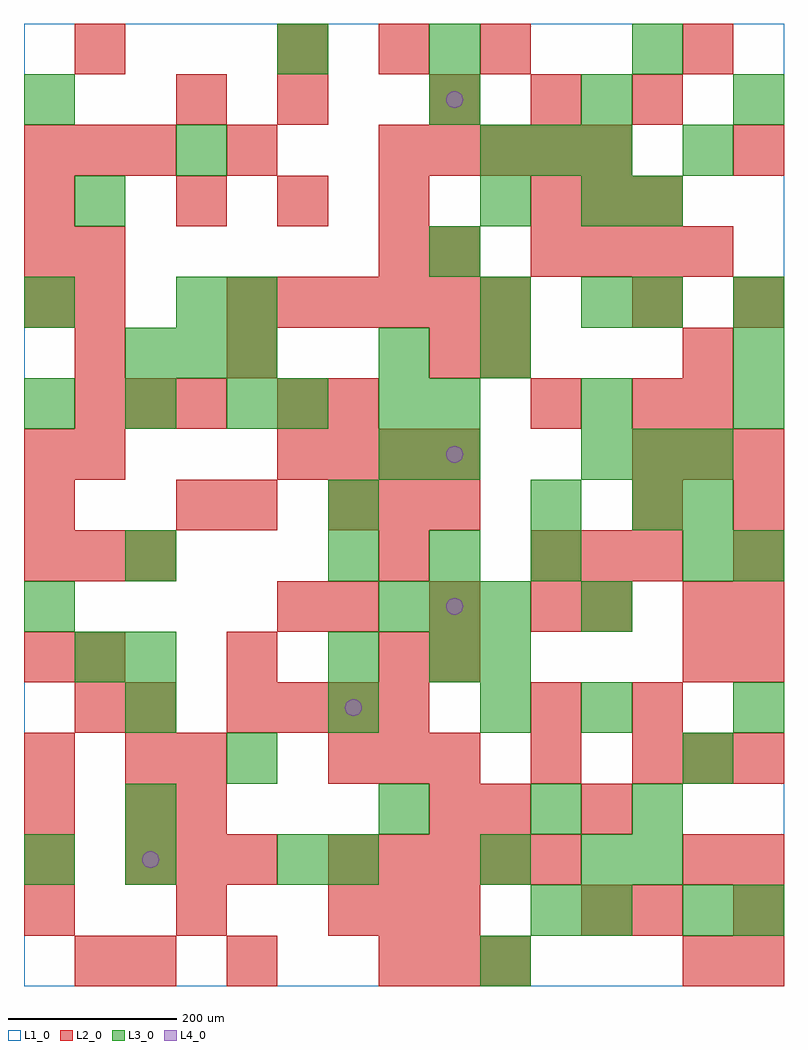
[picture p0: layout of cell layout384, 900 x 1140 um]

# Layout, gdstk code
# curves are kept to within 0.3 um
import gdstk
lib = gdstk.Library(unit=1e-6, precision=1e-09)
def R(c, l, rs):  # rectangles x0, y0, x1, y1
    for r in rs: c.add(gdstk.rectangle(r[:2], r[2:], *l))
def A(c, l, x, y, w, h, nx, ny, dx, dy):  # array of equal rectangles
    R(c, l, [(x+i*dx, y+j*dy, x+i*dx+w, y+j*dy+h) for i in range(nx) for j in range(ny)])
def P(c, l, *ps):  # polygons
    for p in ps: c.add(gdstk.Polygon(p, *l))
L1_0 = (1, 0)
L2_0 = (2, 0)
L3_0 = (3, 0)
L4_0 = (4, 0)

layout384 = lib.new_cell('layout384')
R(layout384, L1_0, [(0,0,900,1140)])
A(layout384, L2_0, 60, 0, 60, 60, 1, 3, 0, 300)
A(layout384, L2_0, 420, 0, 60, 60, 3, 1, 60, 0)
A(layout384, L2_0, 840, 0, 60, 60, 1, 3, 0, 60)
A(layout384, L2_0, 0, 60, 60, 60, 3, 1, 180, 0)
A(layout384, L2_0, 720, 60, 60, 60, 1, 3, 0, 240)
A(layout384, L2_0, 0, 120, 60, 60, 1, 3, 0, 60)
A(layout384, L2_0, 120, 120, 60, 60, 3, 1, 60, 0)
A(layout384, L2_0, 360, 120, 60, 60, 5, 1, 60, 0)
A(layout384, L2_0, 120, 180, 60, 60, 1, 3, 0, 60)
A(layout384, L2_0, 360, 240, 60, 60, 3, 2, 60, 300)
A(layout384, L2_0, 720, 240, 60, 60, 3, 2, 60, 360)
A(layout384, L2_0, 240, 300, 60, 60, 4, 1, 60, 0)
A(layout384, L2_0, 60, 360, 60, 60, 3, 1, 180, 0)
A(layout384, L2_0, 840, 360, 60, 60, 1, 4, 0, 60)
A(layout384, L2_0, 360, 420, 60, 60, 3, 1, 120, 0)
A(layout384, L2_0, 0, 480, 60, 60, 3, 2, 60, 480)
A(layout384, L2_0, 600, 480, 60, 60, 3, 2, 60, 420)
A(layout384, L2_0, 300, 600, 60, 60, 4, 1, 60, 0)
A(layout384, L2_0, 60, 660, 60, 60, 3, 1, 60, 0)
A(layout384, L2_0, 60, 720, 60, 60, 1, 3, 0, 60)
A(layout384, L2_0, 0, 780, 60, 60, 1, 3, 0, 60)
A(layout384, L2_0, 240, 780, 60, 60, 6, 1, 60, 0)
A(layout384, L2_0, 600, 840, 60, 60, 4, 1, 60, 0)
A(layout384, L2_0, 180, 900, 60, 60, 3, 1, 120, 0)
A(layout384, L2_0, 420, 960, 60, 60, 5, 1, 60, 0)
A(layout384, L2_0, 480, 1020, 60, 60, 3, 1, 120, 0)
A(layout384, L2_0, 300, 1080, 60, 60, 3, 1, 120, 0)
R(layout384, L2_0, [(120,0,180,60), (240,0,300,60), (780,0,840,60), (420,60,480,120), (480,60,540,120), (660,60,720,120), (780,120,840,180), (180,180,240,240), (480,180,540,240), (540,180,600,240), (660,180,720,240), (180,240,240,300), (600,240,660,300), (600,300,660,360), (0,360,60,420), (480,360,540,420), (780,360,840,420), (300,420,360,480), (660,420,720,480), (780,420,840,480), (420,480,480,540), (0,540,60,600), (180,540,240,600), (240,540,300,600), (0,600,60,660), (300,660,360,720), (360,660,420,720), (600,660,660,720), (720,660,780,720), (780,660,840,720), (240,720,300,780), (480,720,540,780), (540,720,600,780), (780,720,840,780), (720,780,780,840), (840,780,900,840), (420,840,480,900), (480,840,540,900), (240,960,300,1020), (840,960,900,1020), (180,1020,240,1080), (300,1020,360,1080), (60,1080,120,1140), (780,1080,840,1140)])
A(layout384, L3_0, 480, 360, 60, 60, 1, 4, 0, 240)
A(layout384, L3_0, 420, 420, 60, 60, 3, 1, 60, 0)
A(layout384, L3_0, 360, 480, 60, 60, 3, 1, 120, 0)
A(layout384, L3_0, 420, 600, 60, 60, 1, 3, 0, 60)
A(layout384, L3_0, 660, 600, 60, 60, 3, 1, 60, 0)
A(layout384, L3_0, 0, 660, 60, 60, 3, 1, 120, 0)
A(layout384, L3_0, 480, 660, 60, 60, 3, 2, 180, 360)
A(layout384, L3_0, 120, 720, 60, 60, 3, 1, 60, 0)
A(layout384, L3_0, 540, 960, 60, 60, 3, 1, 60, 0)
R(layout384, L3_0, [(540,0,600,60), (600,60,660,120), (660,60,720,120), (780,60,840,120), (840,60,900,120), (0,120,60,180), (120,120,180,180), (300,120,360,180), (360,120,420,180), (540,120,600,180), (660,120,720,180), (720,120,780,180), (120,180,180,240), (420,180,480,240), (600,180,660,240), (720,180,780,240), (240,240,300,300), (780,240,840,300), (120,300,180,360), (360,300,420,360), (540,300,600,360), (660,300,720,360), (840,300,900,360), (60,360,120,420), (120,360,180,420), (360,360,420,420), (540,360,600,420), (0,420,60,480), (660,420,720,480), (120,480,180,540), (780,480,840,540), (840,480,900,540), (360,540,420,600), (600,540,660,600), (720,540,780,600), (780,540,840,600), (300,660,360,720), (540,720,600,780), (840,720,900,780), (0,780,60,840), (180,780,240,840), (240,780,300,840), (540,780,600,840), (660,780,720,840), (720,780,780,840), (840,780,900,840), (60,900,120,960), (540,900,600,960), (660,900,720,960), (720,900,780,960), (180,960,240,1020), (780,960,840,1020), (0,1020,60,1080), (300,1080,360,1140), (720,1080,780,1140)])
P(layout384, L4_0, [(160,150),(159.239,153.827),(157.071,157.071),(153.827,159.239),(150,160),(146.173,159.239),(142.929,157.071),(140.761,153.827),(140,150),(140.761,146.173),(142.929,142.929),(146.173,140.761),(150,140),(153.827,140.761),(157.071,142.929),(159.239,146.173)],
  [(400,330),(399.239,333.827),(397.071,337.071),(393.827,339.239),(390,340),(386.173,339.239),(382.929,337.071),(380.761,333.827),(380,330),(380.761,326.173),(382.929,322.929),(386.173,320.761),(390,320),(393.827,320.761),(397.071,322.929),(399.239,326.173)],
  [(520,450),(519.239,453.827),(517.071,457.071),(513.827,459.239),(510,460),(506.173,459.239),(502.929,457.071),(500.761,453.827),(500,450),(500.761,446.173),(502.929,442.929),(506.173,440.761),(510,440),(513.827,440.761),(517.071,442.929),(519.239,446.173)],
  [(520,630),(519.239,633.827),(517.071,637.071),(513.827,639.239),(510,640),(506.173,639.239),(502.929,637.071),(500.761,633.827),(500,630),(500.761,626.173),(502.929,622.929),(506.173,620.761),(510,620),(513.827,620.761),(517.071,622.929),(519.239,626.173)],
  [(520,1050),(519.239,1053.827),(517.071,1057.071),(513.827,1059.239),(510,1060),(506.173,1059.239),(502.929,1057.071),(500.761,1053.827),(500,1050),(500.761,1046.173),(502.929,1042.929),(506.173,1040.761),(510,1040),(513.827,1040.761),(517.071,1042.929),(519.239,1046.173)])

lib.write_gds('layout384.gds')
